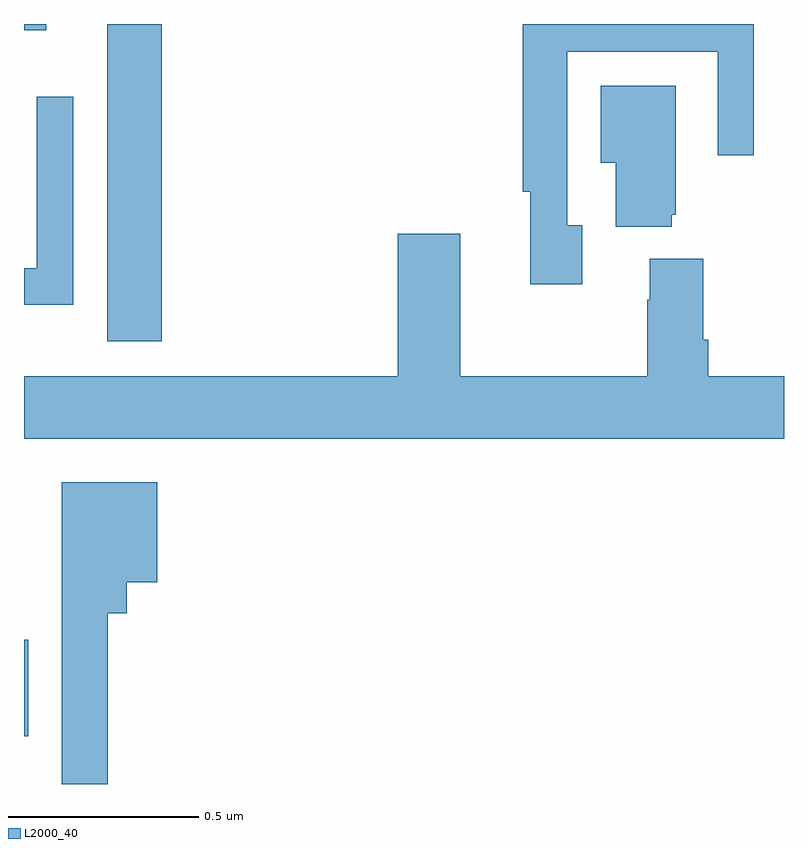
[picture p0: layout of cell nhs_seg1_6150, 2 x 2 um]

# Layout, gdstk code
import gdstk
lib = gdstk.Library(unit=1e-6, precision=1e-09)
def R(c, l, rs):  # rectangles x0, y0, x1, y1
    for r in rs: c.add(gdstk.rectangle(r[:2], r[2:], *l))
def P(c, l, *ps):  # polygons
    for p in ps: c.add(gdstk.Polygon(p, *l))
L2000_40 = (2000, 40)

nhs_seg1_6150 = lib.new_cell('nhs_seg1_6150')
R(nhs_seg1_6150, L2000_40, [(188,508.325,188.011,508.579), (188.219,509.364,188.363,510.199), (188,510.183,188.059,510.199)])
P(nhs_seg1_6150, L2000_40, [(189.469,509.67),(189.429,509.67),(189.429,510.126),(189.825,510.126),(189.825,509.853),(189.921,509.853),(189.921,510.199),(189.313,510.199),(189.313,509.758),(189.332,509.758),(189.332,509.514),(189.469,509.514)],
  [(189.704,509.697),(189.715,509.697),(189.715,510.037),(189.518,510.037),(189.518,509.834),(189.557,509.834),(189.557,509.666),(189.704,509.666)],
  [(188.13,510.007),(188.034,510.007),(188.034,509.556),(188,509.556),(188,509.46),(188.13,509.46)],
  [(190,509.272),(189.8,509.272),(189.8,509.368),(189.787,509.368),(189.787,509.581),(189.647,509.581),(189.647,509.474),(189.64,509.474),(189.64,509.272),(189.148,509.272),(189.148,509.647),(188.984,509.647),(188.984,509.272),(188,509.272),(188,509.108),(190,509.108)],
  [(188.221,508.649),(188.27,508.649),(188.27,508.73),(188.35,508.73),(188.35,508.993),(188.099,508.993),(188.099,508.199),(188.221,508.199)])

lib.write_gds('nhs_seg1_6150.gds')
